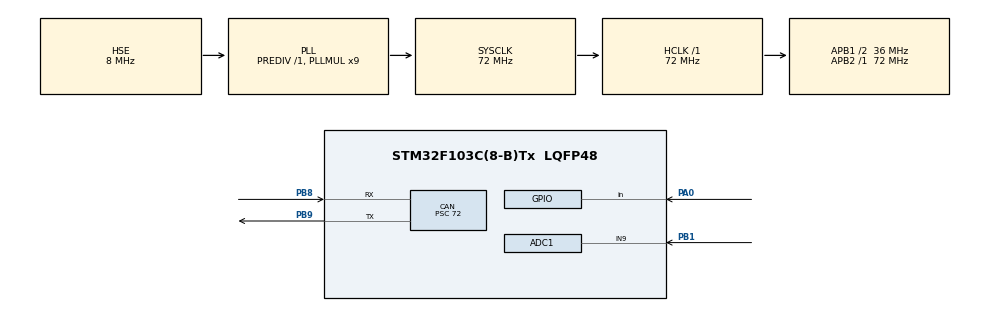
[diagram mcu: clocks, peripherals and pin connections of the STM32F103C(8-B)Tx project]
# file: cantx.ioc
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ADC1.Channel-0\#ChannelRegularConversion=ADC_CHANNEL_9
ADC1.NbrOfConversionFlag=1
ADC1.Rank-0\#ChannelRegularConversion=1
ADC1.SamplingTime-0\#ChannelRegularConversion=ADC_SAMPLETIME_1CYCLE_5
ADC1.master=1
CAN.BS1=CAN_BS1_2TQ
CAN.CalculateBaudRate=125000
CAN.CalculateTimeBit=8000
CAN.CalculateTimeQuantum=2000.0
CAN.Prescaler=72
Mcu.Family=STM32F1
Mcu.Name=STM32F103C(8-B)Tx
Mcu.Package=LQFP48
NVIC.CAN1_RX1_IRQn=true\:0\:0\:false\:false\:true\:true\:true
NVIC.PriorityGroup=NVIC_PRIORITYGROUP_4
PA0-WKUP.Signal=GPIO_Input
PA13.Mode=Serial_Wire
PA13.Signal=SYS_JTMS-SWDIO
PA14.Mode=Serial_Wire
PA14.Signal=SYS_JTCK-SWCLK
PB1.Signal=ADCx_IN9
PB8.Mode=CAN_Activate
PB8.Signal=CAN_RX
PB9.Mode=CAN_Activate
PB9.Signal=CAN_TX
PD0-OSC_IN.Mode=HSE-External-Oscillator
PD0-OSC_IN.Signal=RCC_OSC_IN
PD1-OSC_OUT.Mode=HSE-External-Oscillator
PD1-OSC_OUT.Signal=RCC_OSC_OUT
ProjectManager.HeapSize=0x200
ProjectManager.StackSize=0x400
ProjectManager.TargetToolchain=STM32CubeIDE
RCC.ADCPresc=RCC_ADCPCLK2_DIV6
RCC.AHBFreq_Value=72000000
RCC.APB1CLKDivider=RCC_HCLK_DIV2
RCC.APB1Freq_Value=36000000
RCC.APB1TimFreq_Value=72000000
RCC.APB2Freq_Value=72000000
RCC.APB2TimFreq_Value=72000000
RCC.HCLKFreq_Value=72000000
RCC.PLLMUL=RCC_PLL_MUL9
RCC.PLLSourceVirtual=RCC_PLLSOURCE_HSE
RCC.SYSCLKFreq_VALUE=72000000
RCC.SYSCLKSource=RCC_SYSCLKSOURCE_PLLCLK
RCC.USBFreq_Value=72000000
SH.ADCx_IN9.0=ADC1_IN9,IN9
board=custom

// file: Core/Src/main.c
/* USER CODE BEGIN Header */
/**
  ******************************************************************************
  * @file           : main.c
  * @brief          : Main program body
  ******************************************************************************
  * @attention
  *
  * Copyright (c) 2025 STMicroelectronics.
  * All rights reserved.
  *
  * This software is licensed under terms that can be found in the LICENSE file
  * in the root directory of this software component.
  * If no LICENSE file comes with this software, it is provided AS-IS.
  *
  ******************************************************************************
  */
/* USER CODE END Header */
#include "main.h"

ADC_HandleTypeDef hadc1;

CAN_HandleTypeDef hcan;
uint8_t sensorState;  // Biến lưu trạng thái cảm biến vật cản
uint8_t gpioData;

void SystemClock_Config(void);
static void MX_GPIO_Init(void);
static void MX_ADC1_Init(void);
static void MX_CAN_Init(void);

/* USER CODE BEGIN 0 */
uint16_t readValue;
CAN_TxHeaderTypeDef TxHeader;
uint32_t TxMailbox;
uint8_t TxData[8]="NIZAR---";

/* USER CODE END 0 */

int main(void)
{

  /* MCU Configuration--------------------------------------------------------*/

  /* Reset of all peripherals, Initializes the Flash interface and the Systick. */
  HAL_Init();

  /* Configure the system clock */
  SystemClock_Config();

  /* Initialize all configured peripherals */
  MX_GPIO_Init();
  MX_ADC1_Init();
  MX_CAN_Init();
  /* USER CODE BEGIN 2 */
   HAL_ADC_Start(&hadc1);
   HAL_CAN_Start(&hcan);
   TxHeader.DLC = 8;  // data length
   TxHeader.IDE = CAN_ID_STD;
   TxHeader.RTR = CAN_RTR_DATA;
   TxHeader.StdId = 0x6A5;
  /* USER CODE END 2 */

  /* Infinite loop */
  /* USER CODE BEGIN WHILE */
  while (1)
  {
	    HAL_ADC_PollForConversion(&hadc1, 1000);
	    readValue = HAL_ADC_GetValue(&hadc1);

	    // Chuyển giá trị ADC về phạm vi 0-255 (bằng cách chia cho 16)
	    TxData[7] = readValue >> 4;

	    // Đọc trạng thái GPIO từ cảm biến vật cản (PA0)
	    gpioData = HAL_GPIO_ReadPin(GPIOA, GPIO_PIN_0);  // Đọc tín hiệu cảm biến vật cản
	    sensorState = gpioData;  // Lưu trạng thái cảm biến vật cản vào biến sensorState

	    // Truyền dữ liệu GPIO (sensorState) vào mảng TxData (cập nhật TxData[6] với trạng thái cảm biến)
	    TxData[6] = sensorState;

	    // Truyền dữ liệu qua CAN
	    HAL_CAN_AddTxMessage(&hcan, &TxHeader, TxData, &TxMailbox);

	    HAL_Delay(1000);
    /* USER CODE END WHILE */

  }
}

void SystemClock_Config(void)
{
  RCC_OscInitTypeDef RCC_OscInitStruct = {0};
  RCC_ClkInitTypeDef RCC_ClkInitStruct = {0};
  RCC_PeriphCLKInitTypeDef PeriphClkInit = {0};

  /** Initializes the RCC Oscillators according to the specified parameters
  * in the RCC_OscInitTypeDef structure.
  */
  RCC_OscInitStruct.OscillatorType = RCC_OSCILLATORTYPE_HSE;
  RCC_OscInitStruct.HSEState = RCC_HSE_ON;
  RCC_OscInitStruct.HSEPredivValue = RCC_HSE_PREDIV_DIV1;
  RCC_OscInitStruct.HSIState = RCC_HSI_ON;
  RCC_OscInitStruct.PLL.PLLState = RCC_PLL_ON;
  RCC_OscInitStruct.PLL.PLLSource = RCC_PLLSOURCE_HSE;
  RCC_OscInitStruct.PLL.PLLMUL = RCC_PLL_MUL9;
  if (HAL_RCC_OscConfig(&RCC_OscInitStruct) != HAL_OK)
  {
    Error_Handler();
  }
  /** Initializes the CPU, AHB and APB buses clocks
  */
  RCC_ClkInitStruct.ClockType = RCC_CLOCKTYPE_HCLK|RCC_CLOCKTYPE_SYSCLK
                              |RCC_CLOCKTYPE_PCLK1|RCC_CLOCKTYPE_PCLK2;
  RCC_ClkInitStruct.SYSCLKSource = RCC_SYSCLKSOURCE_PLLCLK;
  RCC_ClkInitStruct.AHBCLKDivider = RCC_SYSCLK_DIV1;
  RCC_ClkInitStruct.APB1CLKDivider = RCC_HCLK_DIV2;
  RCC_ClkInitStruct.APB2CLKDivider = RCC_HCLK_DIV1;

  if (HAL_RCC_ClockConfig(&RCC_ClkInitStruct, FLASH_LATENCY_2) != HAL_OK)
  {
    Error_Handler();
  }
  PeriphClkInit.PeriphClockSelection = RCC_PERIPHCLK_ADC;
  PeriphClkInit.AdcClockSelection = RCC_ADCPCLK2_DIV6;
  if (HAL_RCCEx_PeriphCLKConfig(&PeriphClkInit) != HAL_OK)
  {
    Error_Handler();
  }
}

static void MX_ADC1_Init(void)
{

  ADC_ChannelConfTypeDef sConfig = {0};

  /** Common config
  */
  hadc1.Instance = ADC1;
  hadc1.Init.ScanConvMode = ADC_SCAN_DISABLE;
  hadc1.Init.ContinuousConvMode = ENABLE;
  hadc1.Init.DiscontinuousConvMode = DISABLE;
  hadc1.Init.ExternalTrigConv = ADC_SOFTWARE_START;
  hadc1.Init.DataAlign = ADC_DATAALIGN_RIGHT;
  hadc1.Init.NbrOfConversion = 1;
  if (HAL_ADC_Init(&hadc1) != HAL_OK)
  {
    Error_Handler();
  }
  /** Configure Regular Channel
  */
  sConfig.Channel = ADC_CHANNEL_9;
  sConfig.Rank = ADC_REGULAR_RANK_1;
  sConfig.SamplingTime = ADC_SAMPLETIME_1CYCLE_5;
  if (HAL_ADC_ConfigChannel(&hadc1, &sConfig) != HAL_OK)
  {
    Error_Handler();
  }

}

static void MX_CAN_Init(void)
{

  hcan.Instance = CAN1;
  hcan.Init.Prescaler = 72;
  hcan.Init.Mode = CAN_MODE_NORMAL;
  hcan.Init.SyncJumpWidth = CAN_SJW_1TQ;
  hcan.Init.TimeSeg1 = CAN_BS1_2TQ;
  hcan.Init.TimeSeg2 = CAN_BS2_1TQ;
  hcan.Init.TimeTriggeredMode = DISABLE;
  hcan.Init.AutoBusOff = DISABLE;
  hcan.Init.AutoWakeUp = DISABLE;
  hcan.Init.AutoRetransmission = DISABLE;
  hcan.Init.ReceiveFifoLocked = DISABLE;
  hcan.Init.TransmitFifoPriority = DISABLE;
  if (HAL_CAN_Init(&hcan) != HAL_OK)
  {
    Error_Handler();
  }

}

static void MX_GPIO_Init(void)
{
  GPIO_InitTypeDef GPIO_InitStruct = {0};

  /* GPIO Ports Clock Enable */
  __HAL_RCC_GPIOD_CLK_ENABLE();
  __HAL_RCC_GPIOA_CLK_ENABLE();
  __HAL_RCC_GPIOB_CLK_ENABLE();

  /*Configure GPIO pin : PA0 */
  GPIO_InitStruct.Pin = GPIO_PIN_0;
  GPIO_InitStruct.Mode = GPIO_MODE_INPUT;
  GPIO_InitStruct.Pull = GPIO_NOPULL;
  HAL_GPIO_Init(GPIOA, &GPIO_InitStruct);

}

void Error_Handler(void)
{
  __disable_irq();
  while (1)
  {
  }
}
